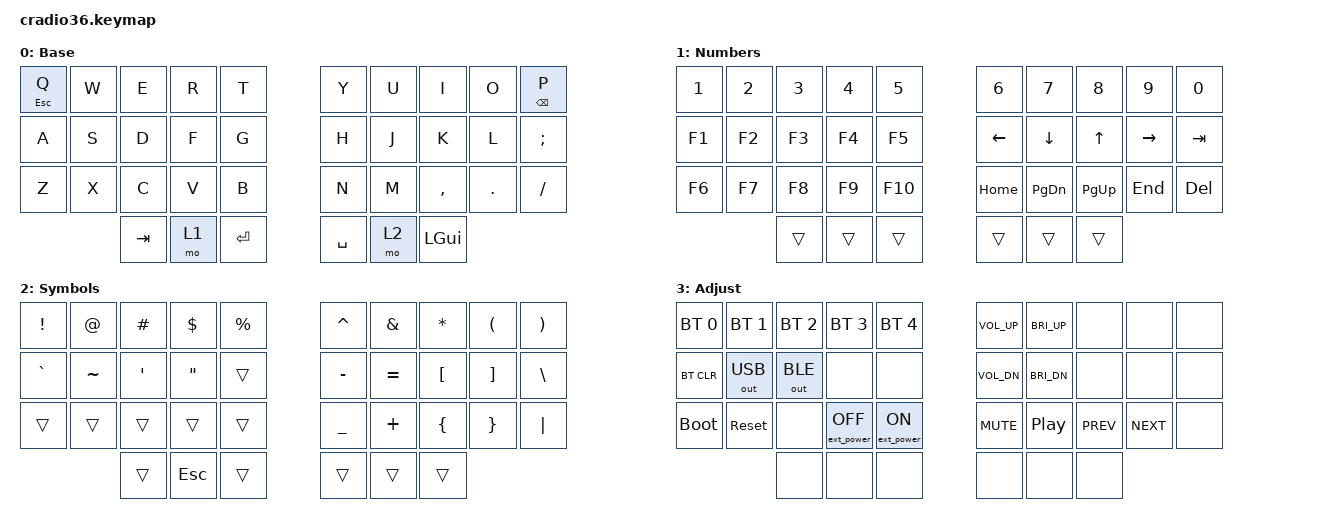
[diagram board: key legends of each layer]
/*
 * Cradio36 Keymap - CUSTOM (Not using generic system)
 * 
 * This is a 3x5 + 3 thumbs layout with hardcoded bindings.
 * Layout: 3x5 alpha + 2 thumbs 
 * 
 * To convert to generic system, replace bindings with:
 * #include "generic_3x5_layers.dtsi" (or create a 3x5+3thumb variant)
 */

#include <behaviors.dtsi>
#include <dt-bindings/zmk/bt.h>
#include <dt-bindings/zmk/ext_power.h>
#include <dt-bindings/zmk/keys.h>
#include <dt-bindings/zmk/outputs.h>

// Include the shared behaviors and macros FIRST
#include "generic_3x5_behaviors.dtsi"

// Include the shared layer definitions
#include "generic_3x5_layers.dtsi"

/ {
    behaviors {
        esc_q: escape_q {
            compatible = "zmk,behavior-hold-tap";
            #binding-cells = <2>;
            flavor = "tap-preferred";
            tapping-term-ms = <200>;
            quick-tap-ms = <150>;
            bindings = <&kp>, <&kp>;
        };
        
        bspc_p: backspace_p {
            compatible = "zmk,behavior-hold-tap";
            #binding-cells = <2>;
            flavor = "tap-preferred";
            tapping-term-ms = <200>;
            quick-tap-ms = <150>;
            bindings = <&kp>, <&kp>;
        };
    };

    combos {
        compatible = "zmk,combos";

        combo_unlock {
            timeout-ms = <50>;
            key-positions = <0 1>;
            bindings = <&studio_unlock>;
            layers = <0>;
        };

        combo_adj {
            timeout-ms = <200>;
            key-positions = <30 35>;  // Both inner thumbs
            bindings = <&mo 3>;
        };
    };

    keymap {
        compatible = "zmk,keymap";

        base_layer {
            display-name = "Base";
            // 3x5 alpha + 3 thumbs (no outer columns)
            bindings = <
&esc_q ESC Q  &kp W  &kp E  &kp R  &kp T              &kp Y      &kp U  &kp I      &kp O    &bspc_p BSPC P
&kp A         &kp S  &kp D  &kp F  &kp G              &kp H      &kp J  &kp K      &kp L    &kp SEMI
&kp Z         &kp X  &kp C  &kp V  &kp B              &kp N      &kp M  &kp COMMA  &kp DOT  &kp SLASH
                            &kp TAB  &mo 1  &kp RET    &kp SPACE  &mo 2  &kp LGUI
            >;
        };

        num_layer {
            display-name = "Numbers";
            bindings = <
&kp N1  &kp N2  &kp N3  &kp N4  &kp N5              &kp N6    &kp N7     &kp N8     &kp N9     &kp N0
&kp F1  &kp F2  &kp F3  &kp F4  &kp F5              &kp LEFT  &kp DOWN   &kp UP     &kp RIGHT  &kp TAB
&kp F6  &kp F7  &kp F8  &kp F9  &kp F10             &kp HOME  &kp PG_DN  &kp PG_UP  &kp END    &kp DEL
                        &trans  &trans   &trans     &trans    &trans     &trans
            >;
        };

        sym_layer {
            display-name = "Symbols";
            bindings = <
&kp EXCL   &kp AT     &kp HASH   &kp DLLR   &kp PRCNT          &kp CARET  &kp AMPS   &kp ASTRK  &kp LPAR  &kp RPAR
&kp GRAVE  &kp TILDE  &kp SQT    &kp DQT    &trans             &kp MINUS  &kp EQUAL  &kp LBKT   &kp RBKT  &kp BSLH
&trans     &trans     &trans     &trans     &trans             &kp UNDER  &kp PLUS   &kp LBRC   &kp RBRC  &kp PIPE
                                 &trans     &kp ESC  &trans    &trans     &trans     &trans
            >;
        };

        adj_layer {
            display-name = "Adjust";
            bindings = <
&bt BT_SEL 0  &bt BT_SEL 1  &bt BT_SEL 2  &bt BT_SEL 3       &bt BT_SEL 4          &kp C_VOL_UP  &kp C_BRI_UP  &none       &none       &none
&bt BT_CLR    &out OUT_USB  &out OUT_BLE  &none              &none                 &kp C_VOL_DN  &kp C_BRI_DN  &none       &none       &none
&bootloader   &sys_reset    &none         &ext_power EP_OFF  &ext_power EP_ON      &kp C_MUTE    &kp C_PP      &kp C_PREV  &kp C_NEXT  &none
                                          &none              &none       &none     &none         &none         &none
            >;
        };
    };
};
